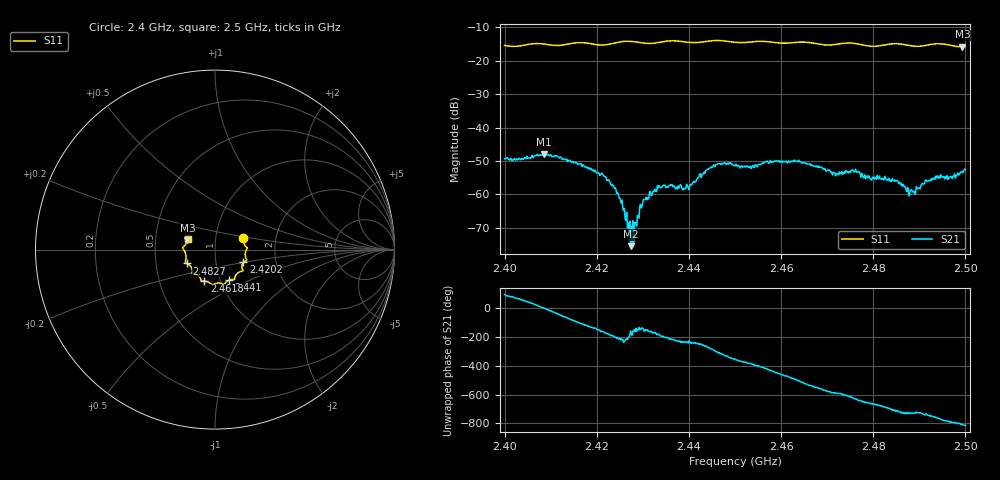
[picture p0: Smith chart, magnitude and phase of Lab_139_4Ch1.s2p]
# Hz S RI R 50
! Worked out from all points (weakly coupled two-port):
!   601 points, 2.4 GHz to 2.5 GHz, reference 50 ohm
!   highest |S21| = -47.98 dB at 2.4085 GHz (marker M1); lowest = -75.5 dB at 2.4273 GHz (marker M2)
!   lowest |S11| = -15.8 dB at 2.4993 GHz (marker M3), VSWR 1.39, Z = 36.5 + j3.84 ohm
!   |S11| at or under -10 dB: start of sweep to end of sweep
!   S12 and S22 are empty: the file has one direction only
!   S11 on the Smith chart (normalised r, x): 2.4 GHz: 1.36, +0.18; 2.4202 GHz: 1.36, -0.20; 2.441 GHz: 1.10, -0.39; 2.4618 GHz: 0.84, -0.30; 2.4827 GHz: 0.72, -0.12; 2.5 GHz: 0.73, +0.09
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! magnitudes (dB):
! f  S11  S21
! 2.4 GHz  -15.4  -49.3
! 2.4085 GHz  -15.0  -48.0
! 2.4167 GHz  -14.6  -50.9
! 2.4202 GHz  -15.2  -53.6
! 2.4242 GHz  -14.6  -58.6
! 2.4273 GHz  -14.2  -75.5
! 2.4282 GHz  -14.3  -68.4
! 2.4298 GHz  -14.7  -63.6
! 2.4333 GHz  -14.5  -58.0
! 2.441 GHz  -14.6  -56.3
! 2.4458 GHz  -13.9  -51.1
! 2.45 GHz  -14.5  -51.5
! 2.4618 GHz  -14.6  -50.5
! 2.4667 GHz  -14.6  -51.2
! 2.4717 GHz  -15.1  -53.5
! 2.4757 GHz  -14.7  -53.0
! 2.4827 GHz  -15.2  -55.1
! 2.4833 GHz  -15.0  -55.2
! 2.4882 GHz  -15.5  -58.9
! 2.4918 GHz  -15.3  -56.0
! 2.4993 GHz  -15.8  -53.2
! 2.5 GHz  -15.7  -52.6
